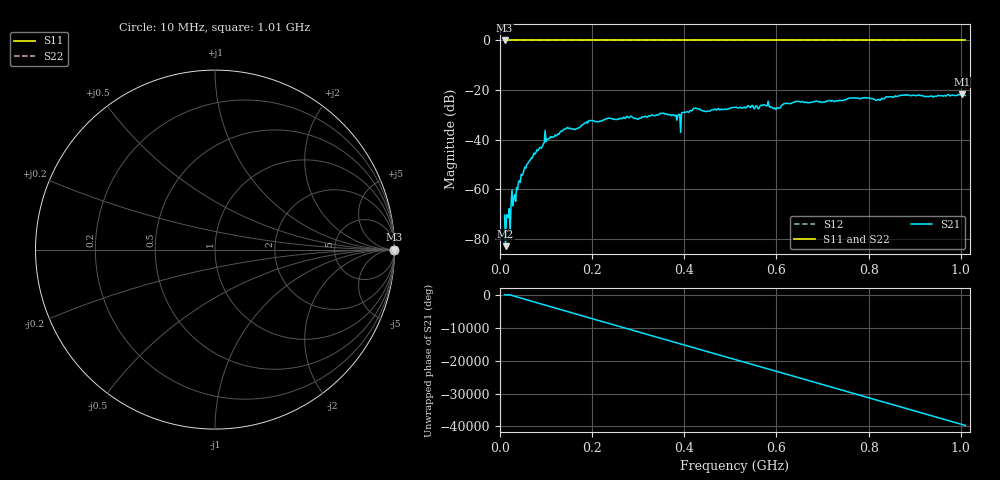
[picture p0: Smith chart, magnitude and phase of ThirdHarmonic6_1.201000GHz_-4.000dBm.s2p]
! 8/16/2025 12:25:49 PM
! C:\ANRITSUVNA\TEMP\TEMP.S2P
! CHANNEL.1
! TR.MEASUREMENT
! RAW.DATA
! RF.CORRECTION.OFF
! AVERAGING.OFF
! IF.BANDWIDTH: 5KHZ
! SWEEPTYPE:  FREQ.SWEEP(Linear)
! Reference Plane Port Info
! PORT:  PORT1  PORT2
! DISTANCE:  0  m  0  m
! TIME:  0  s  0  s
! PHASE.OFFSET:  0  deg.  0  deg.
! LOSS:  0  dB  0  dB
! REF.LOSS:  0  dB  0  dB
! REF.FREQ:  0  Hz  0  Hz
! Power Info
! POWER:  -20  dBm  -20  dBm
! EFF.POWER:  -20  dBm  -20  dBm
! SOURCE.ATTEN:  0  dB  0  dB
! TEST.ATTEN:  0  dB  0  dB
# GHZ S RI R 50.0
! FREQ.GHZ  S11RE  S11IM  S21RE  S21IM  S12RE  S12IM  S22RE  S22IM
!; PortSelection: Port_12
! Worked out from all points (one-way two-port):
!   501 points, 10 MHz to 1.01 GHz, reference 50 ohm
!   highest |S21| = -21.54 dB at 1.002 GHz (marker M1); lowest = -82.9 dB at 12 MHz (marker M2)
!   lowest |S11| = 0.0 dB at 10 MHz (marker M3)
!   |S11| at or under -10 dB: nowhere
!   |S22| runs from 0.0 to 0.0 dB; largest |S21 - S12| = 1.1
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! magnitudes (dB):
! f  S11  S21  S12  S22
! 10 MHz  0.0  -70.4  0.0  0.0
! 12 MHz  0.0  -82.9  0.0  0.0
! 20 MHz  0.0  -67.8  0.0  0.0
! 26 MHz  0.0  -60.3  0.0  0.0
! 28 MHz  0.0  -66.7  0.0  0.0
! 32 MHz  0.0  -62.2  0.0  0.0
! 50 MHz  0.0  -53.7  0.0  0.0
! 98 MHz  0.0  -36.2  0.0  0.0
! 178 MHz  0.0  -34.0  0.0  0.0
! 196 MHz  0.0  -32.3  0.0  0.0
! 344 MHz  0.0  -30.0  0.0  0.0
! 388 MHz  0.0  -29.8  0.0  0.0
! 398 MHz  0.0  -29.0  0.0  0.0
! 424 MHz  0.0  -27.4  0.0  0.0
! 510 MHz  0.0  -27.0  0.0  0.0
! 578 MHz  0.0  -26.3  0.0  0.0
! 602 MHz  0.0  -27.2  0.0  0.0
! 620 MHz  0.0  -25.4  0.0  0.0
! 678 MHz  0.0  -24.8  0.0  0.0
! 844 MHz  0.0  -22.8  0.0  0.0
! 1.002 GHz  0.0  -21.5  0.0  0.0
! 1.01 GHz  0.0  -22.2  0.0  0.0
